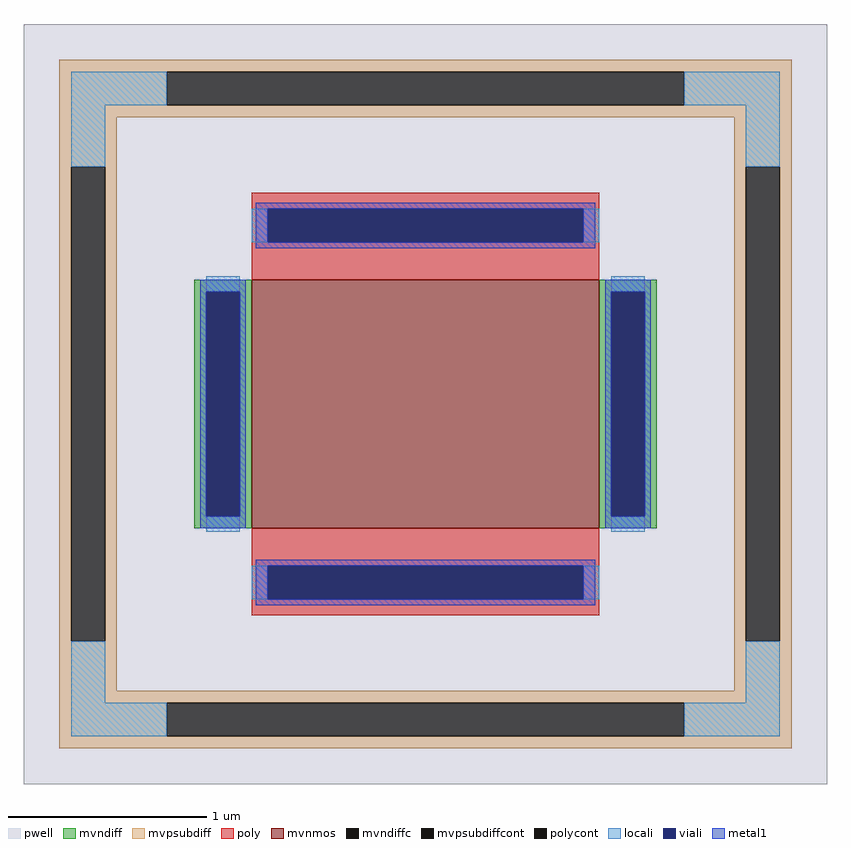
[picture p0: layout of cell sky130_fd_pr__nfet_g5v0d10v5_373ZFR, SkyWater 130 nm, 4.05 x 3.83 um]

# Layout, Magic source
magic
tech sky130A
magscale 1 2
<< pwell >>
rect -405 -383 405 383
<< mvnmos >>
rect -175 -125 175 125
<< mvndiff >>
rect -233 113 -175 125
rect -233 -113 -221 113
rect -187 -113 -175 113
rect -233 -125 -175 -113
rect 175 113 233 125
rect 175 -113 187 113
rect 221 -113 233 113
rect 175 -125 233 -113
<< mvndiffc >>
rect -221 -113 -187 113
rect 187 -113 221 113
<< mvpsubdiff >>
rect -369 335 369 347
rect -369 301 -261 335
rect 261 301 369 335
rect -369 289 369 301
rect -369 239 -311 289
rect -369 -239 -357 239
rect -323 -239 -311 239
rect 311 239 369 289
rect -369 -289 -311 -239
rect 311 -239 323 239
rect 357 -239 369 239
rect 311 -289 369 -239
rect -369 -301 369 -289
rect -369 -335 -261 -301
rect 261 -335 369 -301
rect -369 -347 369 -335
<< mvpsubdiffcont >>
rect -261 301 261 335
rect -357 -239 -323 239
rect 323 -239 357 239
rect -261 -335 261 -301
<< poly >>
rect -175 197 175 213
rect -175 163 -159 197
rect 159 163 175 197
rect -175 125 175 163
rect -175 -163 175 -125
rect -175 -197 -159 -163
rect 159 -197 175 -163
rect -175 -213 175 -197
<< polycont >>
rect -159 163 159 197
rect -159 -197 159 -163
<< locali >>
rect -357 301 -261 335
rect 261 301 357 335
rect -357 239 -323 301
rect 323 239 357 301
rect -175 163 -159 197
rect 159 163 175 197
rect -221 113 -187 129
rect -221 -129 -187 -113
rect 187 113 221 129
rect 187 -129 221 -113
rect -175 -197 -159 -163
rect 159 -197 175 -163
rect -357 -301 -323 -239
rect 323 -301 357 -239
rect -357 -335 -261 -301
rect 261 -335 357 -301
<< viali >>
rect -159 163 159 197
rect -221 -113 -187 113
rect 187 -113 221 113
rect -159 -197 159 -163
<< metal1 >>
rect -171 197 171 203
rect -171 163 -159 197
rect 159 163 171 197
rect -171 157 171 163
rect -227 113 -181 125
rect -227 -113 -221 113
rect -187 -113 -181 113
rect -227 -125 -181 -113
rect 181 113 227 125
rect 181 -113 187 113
rect 221 -113 227 113
rect 181 -125 227 -113
rect -171 -163 171 -157
rect -171 -197 -159 -163
rect 159 -197 171 -163
rect -171 -203 171 -197
<< properties >>
string FIXED_BBOX -340 -318 340 318
string gencell sky130_fd_pr__nfet_g5v0d10v5
string library sky130
string parameters w 1.25 l 1.75 m 1 nf 1 diffcov 100 polycov 100 guard 1 glc 1 grc 1 gtc 1 gbc 1 tbcov 100 rlcov 100 topc 1 botc 1 poverlap 0 doverlap 1 lmin 0.50 wmin 0.42 class mosfet compatible {sky130_fd_pr__nfet_01v8 sky130_fd_pr__nfet_01v8_lvt  sky130_fd_bs_flash__special_sonosfet_star  sky130_fd_pr__nfet_g5v0d10v5 sky130_fd_pr__nfet_05v0_nvt  sky130_fd_pr__nfet_03v3_nvt} full_metal 1 conn_gates 0 viasrc 100 viadrn 100 viagate 100 viagb 0 viagr 0 viagl 0 viagt 0 doports 1
<< end >>
